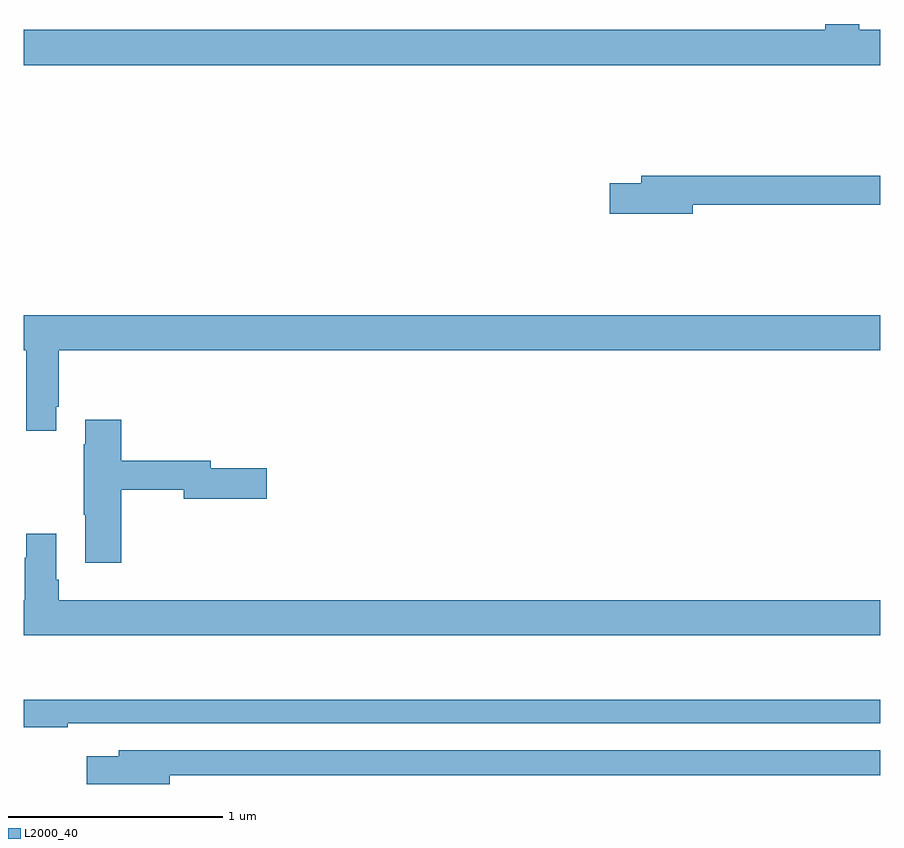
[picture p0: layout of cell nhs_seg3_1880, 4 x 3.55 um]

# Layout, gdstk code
import gdstk
lib = gdstk.Library(unit=1e-6, precision=1e-09)
def P(c, l, *ps):  # polygons
    for p in ps: c.add(gdstk.Polygon(p, *l))
L2000_40 = (2000, 40)

nhs_seg3_1880 = lib.new_cell('nhs_seg3_1880')
P(nhs_seg3_1880, L2000_40, [(211,742.372),(210.903,742.372),(210.903,742.4),(210.743,742.4),(210.743,742.372),(207,742.372),(207,742.208),(211,742.208)],
  [(210.124,741.556),(211,741.556),(211,741.692),(209.885,741.692),(209.885,741.656),(209.736,741.656),(209.736,741.514),(210.124,741.514)],
  [(207.151,740.611),(207.164,740.611),(207.164,740.876),(211,740.876),(211,741.04),(207,741.04),(207,740.876),(207.011,740.876),(207.011,740.499),(207.151,740.499)],
  [(207.455,740.224),(207.746,740.224),(207.746,740.182),(208.135,740.182),(208.135,740.324),(207.874,740.324),(207.874,740.36),(207.455,740.36),(207.455,740.551),(207.287,740.551),(207.287,740.438),(207.28,740.438),(207.28,740.107),(207.287,740.107),(207.287,739.884),(207.455,739.884)],
  [(211,739.708),(207.164,739.708),(207.164,739.804),(207.151,739.804),(207.151,740.02),(207.011,740.02),(207.011,739.907),(207.004,739.907),(207.004,739.708),(207,739.708),(207,739.544),(211,739.544)],
  [(207.206,739.134),(211,739.134),(211,739.243),(207,739.243),(207,739.114),(207.206,739.114)],
  [(207.682,738.892),(211,738.892),(211,739.008),(207.443,739.008),(207.443,738.979),(207.294,738.979),(207.294,738.85),(207.682,738.85)])

lib.write_gds('nhs_seg3_1880.gds')
